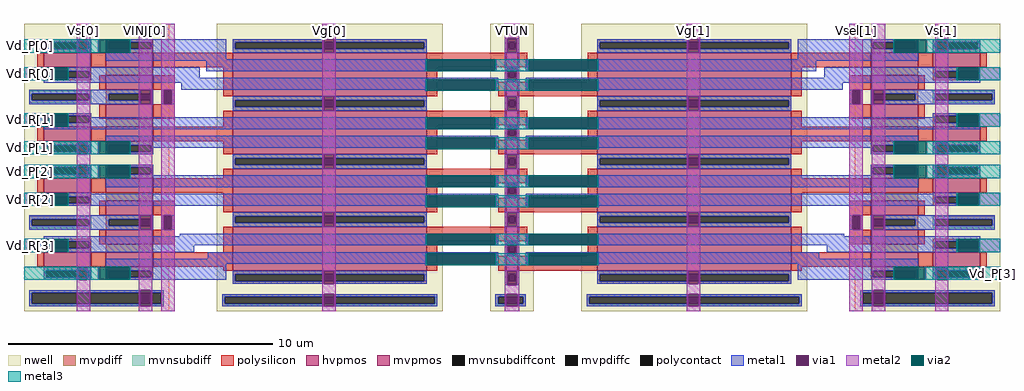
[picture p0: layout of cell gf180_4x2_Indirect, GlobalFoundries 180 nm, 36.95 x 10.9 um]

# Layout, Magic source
magic
tech gf180mcuD
<< nwell >>
rect -45 -16 65 202
rect 101 -16 272 202
rect 308 -16 341 202
rect 377 -16 548 202
rect 584 -16 694 202
<< mvpmos >>
rect -30 169 6 180
rect 17 169 53 180
rect 17 152 53 163
rect 113 147 260 180
rect 320 147 329 158
rect 389 147 536 180
rect 596 169 632 180
rect 643 169 679 180
rect 596 152 632 163
rect -30 113 6 124
rect 113 103 260 136
rect 320 125 329 136
rect 320 103 329 114
rect 389 103 536 136
rect 643 113 679 124
rect -30 74 6 85
rect 17 74 53 85
rect 17 57 53 68
rect 113 59 260 92
rect 320 81 329 92
rect 320 59 329 70
rect 389 59 536 92
rect 596 74 632 85
rect 643 74 679 85
rect 596 57 632 68
rect 113 15 260 48
rect 320 37 329 48
rect 320 15 329 26
rect 389 15 536 48
<< hvpmos >>
rect 320 169 329 180
rect 17 130 53 141
rect 17 113 53 124
rect 596 130 632 141
rect 596 113 632 124
rect 17 35 53 46
rect -30 18 6 29
rect 17 18 53 29
rect 596 35 632 46
rect 596 18 632 29
rect 643 18 679 29
<< mvpdiff >>
rect -30 188 6 190
rect -30 183 -28 188
rect 4 183 6 188
rect -30 180 6 183
rect 17 188 53 190
rect 17 183 19 188
rect 51 183 53 188
rect 17 180 53 183
rect 113 188 260 190
rect 113 183 115 188
rect 258 183 260 188
rect 113 180 260 183
rect 320 188 329 190
rect 320 183 322 188
rect 327 183 329 188
rect 320 180 329 183
rect 389 188 536 190
rect 389 183 391 188
rect 534 183 536 188
rect 389 180 536 183
rect 596 188 632 190
rect 596 183 598 188
rect 630 183 632 188
rect 596 180 632 183
rect 643 188 679 190
rect 643 183 645 188
rect 677 183 679 188
rect 643 180 679 183
rect -30 166 6 169
rect -30 161 -28 166
rect 4 161 6 166
rect 17 163 53 169
rect -30 159 6 161
rect 17 149 53 152
rect 17 144 19 149
rect 51 144 53 149
rect 17 141 53 144
rect 320 166 329 169
rect 320 161 322 166
rect 327 161 329 166
rect 320 158 329 161
rect 596 163 632 169
rect 643 166 679 169
rect 643 161 645 166
rect 677 161 679 166
rect 643 159 679 161
rect -30 132 6 134
rect -30 127 -28 132
rect 4 127 6 132
rect 113 144 260 147
rect 113 139 115 144
rect 258 139 260 144
rect 113 136 260 139
rect 320 144 329 147
rect 320 139 322 144
rect 327 139 329 144
rect 320 136 329 139
rect 389 144 536 147
rect 389 139 391 144
rect 534 139 536 144
rect 389 136 536 139
rect 596 149 632 152
rect 596 144 598 149
rect 630 144 632 149
rect 596 141 632 144
rect -30 124 6 127
rect 17 124 53 130
rect -30 110 6 113
rect -30 105 -28 110
rect 4 105 6 110
rect -30 103 6 105
rect 17 110 53 113
rect 17 105 19 110
rect 51 105 53 110
rect 17 103 53 105
rect 320 122 329 125
rect 320 117 322 122
rect 327 117 329 122
rect 320 114 329 117
rect 643 132 679 134
rect 596 124 632 130
rect 643 127 645 132
rect 677 127 679 132
rect 643 124 679 127
rect 596 110 632 113
rect 596 105 598 110
rect 630 105 632 110
rect 596 103 632 105
rect 643 110 679 113
rect 643 105 645 110
rect 677 105 679 110
rect 643 103 679 105
rect 113 100 260 103
rect 113 95 115 100
rect 258 95 260 100
rect -30 93 6 95
rect -30 88 -28 93
rect 4 88 6 93
rect -30 85 6 88
rect 17 93 53 95
rect 17 88 19 93
rect 51 88 53 93
rect 113 92 260 95
rect 320 100 329 103
rect 320 95 322 100
rect 327 95 329 100
rect 320 92 329 95
rect 389 100 536 103
rect 389 95 391 100
rect 534 95 536 100
rect 389 92 536 95
rect 596 93 632 95
rect 17 85 53 88
rect -30 71 6 74
rect -30 66 -28 71
rect 4 66 6 71
rect 17 68 53 74
rect -30 64 6 66
rect 320 78 329 81
rect 320 73 322 78
rect 327 73 329 78
rect 320 70 329 73
rect 596 88 598 93
rect 630 88 632 93
rect 596 85 632 88
rect 643 93 679 95
rect 643 88 645 93
rect 677 88 679 93
rect 643 85 679 88
rect 596 68 632 74
rect 643 71 679 74
rect 17 54 53 57
rect 17 49 19 54
rect 51 49 53 54
rect 17 46 53 49
rect 113 56 260 59
rect 113 51 115 56
rect 258 51 260 56
rect 113 48 260 51
rect 320 56 329 59
rect 320 51 322 56
rect 327 51 329 56
rect 320 48 329 51
rect 389 56 536 59
rect 389 51 391 56
rect 534 51 536 56
rect 389 48 536 51
rect 643 66 645 71
rect 677 66 679 71
rect 643 64 679 66
rect -30 37 6 39
rect -30 32 -28 37
rect 4 32 6 37
rect -30 29 6 32
rect 17 29 53 35
rect -30 15 6 18
rect -30 10 -28 15
rect 4 10 6 15
rect -30 8 6 10
rect 17 15 53 18
rect 320 34 329 37
rect 320 29 322 34
rect 327 29 329 34
rect 320 26 329 29
rect 596 54 632 57
rect 596 49 598 54
rect 630 49 632 54
rect 596 46 632 49
rect 643 37 679 39
rect 596 29 632 35
rect 643 32 645 37
rect 677 32 679 37
rect 643 29 679 32
rect 596 15 632 18
rect 17 10 19 15
rect 51 10 53 15
rect 17 8 53 10
rect 113 12 260 15
rect 113 7 115 12
rect 258 7 260 12
rect 113 5 260 7
rect 320 12 329 15
rect 320 7 322 12
rect 327 7 329 12
rect 320 5 329 7
rect 389 12 536 15
rect 389 7 391 12
rect 534 7 536 12
rect 596 10 598 15
rect 630 10 632 15
rect 596 8 632 10
rect 643 15 679 18
rect 643 10 645 15
rect 677 10 679 15
rect 643 8 679 10
rect 389 5 536 7
<< mvpdiffc >>
rect -28 183 4 188
rect 19 183 51 188
rect 115 183 258 188
rect 322 183 327 188
rect 391 183 534 188
rect 598 183 630 188
rect 645 183 677 188
rect -28 161 4 166
rect 19 144 51 149
rect 322 161 327 166
rect 645 161 677 166
rect -28 127 4 132
rect 115 139 258 144
rect 322 139 327 144
rect 391 139 534 144
rect 598 144 630 149
rect -28 105 4 110
rect 19 105 51 110
rect 322 117 327 122
rect 645 127 677 132
rect 598 105 630 110
rect 645 105 677 110
rect 115 95 258 100
rect -28 88 4 93
rect 19 88 51 93
rect 322 95 327 100
rect 391 95 534 100
rect -28 66 4 71
rect 322 73 327 78
rect 598 88 630 93
rect 645 88 677 93
rect 19 49 51 54
rect 115 51 258 56
rect 322 51 327 56
rect 391 51 534 56
rect 645 66 677 71
rect -28 32 4 37
rect -28 10 4 15
rect 322 29 327 34
rect 598 49 630 54
rect 645 32 677 37
rect 19 10 51 15
rect 115 7 258 12
rect 322 7 327 12
rect 391 7 534 12
rect 598 10 630 15
rect 645 10 677 15
<< mvnsubdiff >>
rect -41 149 6 151
rect -41 144 -39 149
rect 4 144 6 149
rect -41 142 6 144
rect 643 149 690 151
rect 643 144 645 149
rect 688 144 690 149
rect 643 142 690 144
rect -41 54 6 56
rect -41 49 -39 54
rect 4 49 6 54
rect -41 47 6 49
rect 643 54 690 56
rect 643 49 645 54
rect 688 49 690 54
rect 643 47 690 49
rect -41 -2 61 0
rect -41 -10 -39 -2
rect 59 -10 61 -2
rect 588 -2 690 0
rect -41 -12 61 -10
rect 105 -5 268 -3
rect 105 -10 107 -5
rect 266 -10 268 -5
rect 105 -12 268 -10
rect 312 -5 335 -3
rect 312 -10 314 -5
rect 333 -10 335 -5
rect 312 -12 335 -10
rect 381 -5 544 -3
rect 381 -10 383 -5
rect 542 -10 544 -5
rect 381 -12 544 -10
rect 588 -10 590 -2
rect 688 -10 690 -2
rect 588 -12 690 -10
<< mvnsubdiffcont >>
rect -39 144 4 149
rect 645 144 688 149
rect -39 49 4 54
rect 645 49 688 54
rect -39 -10 59 -2
rect 107 -10 266 -5
rect 314 -10 333 -5
rect 383 -10 542 -5
rect 590 -10 688 -2
<< polysilicon >>
rect -35 169 -30 180
rect 6 169 17 180
rect 53 169 113 180
rect 12 152 17 163
rect 53 152 69 163
rect 59 141 61 152
rect 67 141 69 152
rect 106 147 113 169
rect 260 169 320 180
rect 329 169 336 180
rect 260 147 268 169
rect 382 158 389 180
rect 314 147 320 158
rect 329 147 389 158
rect 536 169 596 180
rect 632 169 643 180
rect 679 169 684 180
rect 536 147 544 169
rect 580 152 596 163
rect 632 152 637 163
rect 12 130 17 141
rect 53 130 69 141
rect 580 141 582 152
rect 588 141 590 152
rect 106 124 113 136
rect -35 113 -30 124
rect 6 113 17 124
rect 53 113 113 124
rect 106 103 113 113
rect 260 125 320 136
rect 329 125 336 136
rect 260 103 268 125
rect 382 114 389 136
rect 314 103 320 114
rect 329 103 389 114
rect 536 124 544 136
rect 580 130 596 141
rect 632 130 637 141
rect 536 113 596 124
rect 632 113 643 124
rect 679 113 684 124
rect 536 103 544 113
rect 106 85 113 92
rect -35 74 -30 85
rect 6 74 17 85
rect 53 74 113 85
rect 12 57 17 68
rect 53 57 69 68
rect 106 59 113 74
rect 260 81 320 92
rect 329 81 336 92
rect 260 59 268 81
rect 382 70 389 92
rect 314 59 320 70
rect 329 59 389 70
rect 536 85 544 92
rect 536 74 596 85
rect 632 74 643 85
rect 679 74 684 85
rect 536 59 544 74
rect 59 46 61 57
rect 67 46 69 57
rect 580 57 596 68
rect 632 57 637 68
rect 12 35 17 46
rect 53 35 69 46
rect 106 29 113 48
rect -35 18 -30 29
rect 6 18 17 29
rect 53 18 113 29
rect 106 15 113 18
rect 260 37 320 48
rect 329 37 336 48
rect 260 15 268 37
rect 382 26 389 48
rect 314 15 320 26
rect 329 15 389 26
rect 536 29 544 48
rect 580 46 582 57
rect 588 46 590 57
rect 580 35 596 46
rect 632 35 637 46
rect 536 18 596 29
rect 632 18 643 29
rect 679 18 684 29
rect 536 15 544 18
<< polycontact >>
rect 61 141 67 152
rect 582 141 588 152
rect 61 46 67 57
rect 582 46 588 57
<< metal1 >>
rect -30 188 -4 190
rect 3 188 6 190
rect -30 183 -28 188
rect 4 183 6 188
rect -30 180 -4 183
rect 3 180 6 183
rect 17 189 108 190
rect 17 181 18 189
rect 35 188 108 189
rect 51 183 108 188
rect 35 181 108 183
rect 17 175 108 181
rect 113 188 182 190
rect 190 188 260 190
rect 113 183 115 188
rect 258 183 260 188
rect 113 180 182 183
rect 190 180 260 183
rect 319 180 321 191
rect 328 180 330 191
rect 389 188 458 190
rect 466 188 536 190
rect 389 183 391 188
rect 534 183 536 188
rect 389 180 458 183
rect 466 180 536 183
rect 541 189 632 190
rect 541 188 614 189
rect 541 183 598 188
rect 541 181 614 183
rect 631 181 632 189
rect 541 175 632 181
rect 643 188 646 190
rect 654 188 679 190
rect 643 183 645 188
rect 677 183 679 188
rect 643 180 646 183
rect 654 180 679 183
rect 17 174 313 175
rect -30 168 88 169
rect -30 160 -29 168
rect -12 166 88 168
rect 93 167 260 174
rect 312 167 313 174
rect 335 174 632 175
rect 93 166 313 167
rect 4 161 88 166
rect -12 160 314 161
rect -30 159 314 160
rect -30 157 260 159
rect 74 152 260 157
rect 312 152 314 159
rect 319 158 321 169
rect 328 158 330 169
rect 335 167 337 174
rect 389 167 555 174
rect 335 166 555 167
rect 561 168 679 169
rect 561 166 662 168
rect 561 161 645 166
rect 335 160 662 161
rect 678 160 679 168
rect 335 159 679 160
rect 335 152 337 159
rect 389 157 679 159
rect 389 152 575 157
rect -41 149 43 152
rect -41 144 -39 149
rect 4 144 19 149
rect -41 141 43 144
rect 51 141 53 152
rect 59 141 61 152
rect 67 141 69 152
rect 113 144 182 147
rect 190 144 260 147
rect 113 139 115 144
rect 258 139 260 144
rect 113 136 182 139
rect 190 136 260 139
rect 319 136 321 147
rect 328 136 330 147
rect 389 144 458 147
rect 466 144 536 147
rect 389 139 391 144
rect 534 139 536 144
rect 580 141 582 152
rect 588 141 590 152
rect 596 141 598 152
rect 606 149 690 152
rect 630 144 645 149
rect 688 144 690 149
rect 606 141 690 144
rect 389 136 458 139
rect 466 136 536 139
rect -30 133 6 134
rect -30 125 -29 133
rect -12 132 6 133
rect 4 131 6 132
rect 643 133 679 134
rect 643 132 662 133
rect 643 131 645 132
rect 4 130 314 131
rect 4 127 260 130
rect -12 125 260 127
rect -30 123 260 125
rect 312 123 314 130
rect 335 130 645 131
rect -30 122 314 123
rect 17 115 314 117
rect -30 110 -4 113
rect 3 110 6 113
rect -30 105 -28 110
rect 4 105 6 110
rect -30 103 -4 105
rect 3 103 6 105
rect 17 112 260 115
rect 17 104 18 112
rect 35 110 260 112
rect 51 108 260 110
rect 312 108 314 115
rect 319 114 321 125
rect 328 114 330 125
rect 335 123 337 130
rect 389 127 645 130
rect 389 125 662 127
rect 678 125 679 133
rect 389 123 679 125
rect 335 122 679 123
rect 335 115 632 117
rect 335 108 337 115
rect 389 112 632 115
rect 389 110 614 112
rect 389 108 598 110
rect 51 105 53 108
rect 35 104 53 105
rect 17 103 53 104
rect 596 105 598 108
rect 596 104 614 105
rect 631 104 632 112
rect 596 103 632 104
rect 643 110 646 113
rect 654 110 679 113
rect 643 105 645 110
rect 677 105 679 110
rect 643 103 646 105
rect 654 103 679 105
rect 113 100 182 103
rect 190 100 260 103
rect 113 95 115 100
rect 258 95 260 100
rect -30 93 -4 95
rect 3 93 6 95
rect -30 88 -28 93
rect 4 88 6 93
rect -30 85 -4 88
rect 3 85 6 88
rect 17 94 53 95
rect 17 86 18 94
rect 35 93 53 94
rect 51 88 53 93
rect 113 92 182 95
rect 190 92 260 95
rect 319 92 321 103
rect 328 92 330 103
rect 389 100 458 103
rect 466 100 536 103
rect 389 95 391 100
rect 534 95 536 100
rect 389 92 458 95
rect 466 92 536 95
rect 596 94 632 95
rect 596 93 614 94
rect 35 87 53 88
rect 596 88 598 93
rect 596 87 614 88
rect 35 86 314 87
rect 17 79 260 86
rect 312 79 314 86
rect 335 86 614 87
rect 631 86 632 94
rect 17 78 314 79
rect -30 73 6 74
rect -30 65 -29 73
rect -12 71 314 73
rect 4 66 260 71
rect -12 65 260 66
rect -30 64 260 65
rect 312 64 314 71
rect 319 70 321 81
rect 328 70 330 81
rect 335 79 337 86
rect 389 79 632 86
rect 643 93 646 95
rect 654 93 679 95
rect 643 88 645 93
rect 677 88 679 93
rect 643 85 646 88
rect 654 85 679 88
rect 335 78 632 79
rect 643 73 679 74
rect 335 71 662 73
rect 335 64 337 71
rect 389 66 645 71
rect 389 65 662 66
rect 678 65 679 73
rect 389 64 679 65
rect -41 54 43 57
rect -41 49 -39 54
rect 4 49 19 54
rect -41 46 43 49
rect 51 46 53 57
rect 59 46 61 57
rect 67 46 69 57
rect 113 56 182 59
rect 190 56 260 59
rect 113 51 115 56
rect 258 51 260 56
rect 113 48 182 51
rect 190 48 260 51
rect 319 48 321 59
rect 328 48 330 59
rect 389 56 458 59
rect 466 56 536 59
rect 389 51 391 56
rect 534 51 536 56
rect 389 48 458 51
rect 466 48 536 51
rect 580 46 582 57
rect 588 46 590 57
rect 596 46 598 57
rect 606 54 690 57
rect 630 49 645 54
rect 688 49 690 54
rect 606 46 690 49
rect 73 42 314 43
rect 73 41 260 42
rect -30 38 260 41
rect -30 30 -29 38
rect -12 37 260 38
rect 4 35 260 37
rect 312 35 314 42
rect 335 42 576 43
rect 4 34 314 35
rect 4 32 84 34
rect -12 30 84 32
rect -30 29 84 30
rect 94 27 314 29
rect 94 24 260 27
rect 17 20 260 24
rect 312 20 314 27
rect 319 26 321 37
rect 328 26 330 37
rect 335 35 337 42
rect 389 41 576 42
rect 389 38 679 41
rect 389 37 662 38
rect 389 35 645 37
rect 335 34 645 35
rect 563 32 645 34
rect 563 30 662 32
rect 678 30 679 38
rect 563 29 679 30
rect 335 27 557 29
rect 335 20 337 27
rect 389 24 557 27
rect 389 20 632 24
rect -30 15 -4 18
rect 3 15 6 18
rect -30 10 -28 15
rect 4 10 6 15
rect -30 8 -4 10
rect 3 8 6 10
rect 17 17 108 20
rect 17 9 18 17
rect 35 15 108 17
rect 541 17 632 20
rect 541 15 614 17
rect 51 10 108 15
rect 35 9 108 10
rect 17 8 108 9
rect 113 12 182 15
rect 190 12 260 15
rect 113 7 115 12
rect 258 7 260 12
rect 113 5 182 7
rect 190 5 260 7
rect 319 4 321 15
rect 328 4 330 15
rect 389 12 458 15
rect 466 12 536 15
rect 389 7 391 12
rect 534 7 536 12
rect 541 10 598 15
rect 541 9 614 10
rect 631 9 632 17
rect 541 8 632 9
rect 643 15 646 18
rect 654 15 679 18
rect 643 10 645 15
rect 677 10 679 15
rect 643 8 646 10
rect 654 8 679 10
rect 389 5 458 7
rect 466 5 536 7
rect -41 -2 43 0
rect 51 -2 61 0
rect -41 -10 -39 -2
rect 59 -10 61 -2
rect 588 -2 598 0
rect 606 -2 690 0
rect -41 -12 43 -10
rect 51 -12 61 -10
rect 105 -5 182 -3
rect 190 -5 268 -3
rect 105 -10 107 -5
rect 266 -10 268 -5
rect 105 -12 182 -10
rect 190 -12 268 -10
rect 312 -5 320 -3
rect 329 -5 335 -3
rect 312 -10 314 -5
rect 333 -10 335 -5
rect 312 -12 320 -10
rect 329 -12 335 -10
rect 381 -5 458 -3
rect 466 -5 544 -3
rect 381 -10 383 -5
rect 542 -10 544 -5
rect 381 -12 458 -10
rect 466 -12 544 -10
rect 588 -10 590 -2
rect 688 -10 690 -2
rect 588 -12 598 -10
rect 606 -12 690 -10
<< via1 >>
rect -4 188 3 190
rect -4 183 3 188
rect -4 180 3 183
rect 18 188 35 189
rect 18 183 19 188
rect 19 183 35 188
rect 18 181 35 183
rect 182 188 190 190
rect 182 183 190 188
rect 182 180 190 183
rect 321 188 328 191
rect 321 183 322 188
rect 322 183 327 188
rect 327 183 328 188
rect 321 180 328 183
rect 458 188 466 190
rect 458 183 466 188
rect 458 180 466 183
rect 614 188 631 189
rect 614 183 630 188
rect 630 183 631 188
rect 614 181 631 183
rect 646 188 654 190
rect 646 183 654 188
rect 646 180 654 183
rect -29 166 -12 168
rect 260 167 312 174
rect -29 161 -28 166
rect -28 161 -12 166
rect -29 160 -12 161
rect 260 152 312 159
rect 321 166 328 169
rect 321 161 322 166
rect 322 161 327 166
rect 327 161 328 166
rect 321 158 328 161
rect 337 167 389 174
rect 662 166 678 168
rect 662 161 677 166
rect 677 161 678 166
rect 662 160 678 161
rect 337 152 389 159
rect 43 149 51 152
rect 43 144 51 149
rect 43 141 51 144
rect 61 141 67 152
rect 182 144 190 147
rect 182 139 190 144
rect 182 136 190 139
rect 321 144 328 147
rect 321 139 322 144
rect 322 139 327 144
rect 327 139 328 144
rect 321 136 328 139
rect 458 144 466 147
rect 458 139 466 144
rect 582 141 588 152
rect 598 149 606 152
rect 598 144 606 149
rect 598 141 606 144
rect 458 136 466 139
rect -29 132 -12 133
rect -29 127 -28 132
rect -28 127 -12 132
rect 662 132 678 133
rect -29 125 -12 127
rect 260 123 312 130
rect -4 110 3 113
rect -4 105 3 110
rect -4 103 3 105
rect 18 110 35 112
rect 18 105 19 110
rect 19 105 35 110
rect 260 108 312 115
rect 321 122 328 125
rect 321 117 322 122
rect 322 117 327 122
rect 327 117 328 122
rect 321 114 328 117
rect 337 123 389 130
rect 662 127 677 132
rect 677 127 678 132
rect 662 125 678 127
rect 337 108 389 115
rect 614 110 631 112
rect 18 104 35 105
rect 614 105 630 110
rect 630 105 631 110
rect 614 104 631 105
rect 646 110 654 113
rect 646 105 654 110
rect 646 103 654 105
rect 182 100 190 103
rect 182 95 190 100
rect -4 93 3 95
rect -4 88 3 93
rect -4 85 3 88
rect 18 93 35 94
rect 18 88 19 93
rect 19 88 35 93
rect 182 92 190 95
rect 321 100 328 103
rect 321 95 322 100
rect 322 95 327 100
rect 327 95 328 100
rect 321 92 328 95
rect 458 100 466 103
rect 458 95 466 100
rect 458 92 466 95
rect 614 93 631 94
rect 18 86 35 88
rect 614 88 630 93
rect 630 88 631 93
rect 260 79 312 86
rect 614 86 631 88
rect -29 71 -12 73
rect -29 66 -28 71
rect -28 66 -12 71
rect -29 65 -12 66
rect 260 64 312 71
rect 321 78 328 81
rect 321 73 322 78
rect 322 73 327 78
rect 327 73 328 78
rect 321 70 328 73
rect 337 79 389 86
rect 646 93 654 95
rect 646 88 654 93
rect 646 85 654 88
rect 662 71 678 73
rect 337 64 389 71
rect 662 66 677 71
rect 677 66 678 71
rect 662 65 678 66
rect 43 54 51 57
rect 43 49 51 54
rect 43 46 51 49
rect 61 46 67 57
rect 182 56 190 59
rect 182 51 190 56
rect 182 48 190 51
rect 321 56 328 59
rect 321 51 322 56
rect 322 51 327 56
rect 327 51 328 56
rect 321 48 328 51
rect 458 56 466 59
rect 458 51 466 56
rect 458 48 466 51
rect 582 46 588 57
rect 598 54 606 57
rect 598 49 606 54
rect 598 46 606 49
rect -29 37 -12 38
rect -29 32 -28 37
rect -28 32 -12 37
rect 260 35 312 42
rect -29 30 -12 32
rect 260 20 312 27
rect 321 34 328 37
rect 321 29 322 34
rect 322 29 327 34
rect 327 29 328 34
rect 321 26 328 29
rect 337 35 389 42
rect 662 37 678 38
rect 662 32 677 37
rect 677 32 678 37
rect 662 30 678 32
rect 337 20 389 27
rect -4 15 3 18
rect -4 10 3 15
rect -4 8 3 10
rect 18 15 35 17
rect 614 15 631 17
rect 18 10 19 15
rect 19 10 35 15
rect 18 9 35 10
rect 182 12 190 15
rect 182 7 190 12
rect 182 5 190 7
rect 321 12 328 15
rect 321 7 322 12
rect 322 7 327 12
rect 327 7 328 12
rect 321 4 328 7
rect 458 12 466 15
rect 458 7 466 12
rect 614 10 630 15
rect 630 10 631 15
rect 614 9 631 10
rect 646 15 654 18
rect 646 10 654 15
rect 646 8 654 10
rect 458 5 466 7
rect 43 -2 51 0
rect 43 -10 51 -2
rect 598 -2 606 0
rect 43 -12 51 -10
rect 182 -5 190 -3
rect 182 -10 190 -5
rect 182 -12 190 -10
rect 320 -5 329 -3
rect 320 -10 329 -5
rect 320 -12 329 -10
rect 458 -5 466 -3
rect 458 -10 466 -5
rect 458 -12 466 -10
rect 598 -10 606 -2
rect 598 -12 606 -10
<< metal2 >>
rect -5 190 5 202
rect -5 180 -4 190
rect 3 180 5 190
rect 11 180 12 190
rect 35 180 36 190
rect -45 159 -29 169
rect -12 159 -11 169
rect -45 124 -29 134
rect -12 124 -11 134
rect -5 113 5 180
rect 42 152 52 202
rect 42 141 43 152
rect 51 141 52 152
rect -5 103 -4 113
rect 3 103 5 113
rect 11 103 12 113
rect 35 103 36 113
rect -5 95 5 103
rect -5 85 -4 95
rect 3 85 5 95
rect 11 85 12 95
rect 35 85 36 95
rect -45 64 -29 74
rect -12 64 -11 74
rect -45 29 -29 39
rect -12 29 -11 39
rect -5 18 5 85
rect 42 57 52 141
rect 42 46 43 57
rect 51 46 52 57
rect -5 8 -4 18
rect 3 8 5 18
rect 11 8 12 18
rect 35 8 36 18
rect -5 -16 5 8
rect 42 0 52 46
rect 42 -12 43 0
rect 51 -12 52 0
rect 42 -16 52 -12
rect 59 152 69 202
rect 59 141 61 152
rect 67 141 69 152
rect 59 57 69 141
rect 59 46 61 57
rect 67 46 69 57
rect 59 -16 69 46
rect 181 190 191 202
rect 181 180 182 190
rect 190 180 191 190
rect 181 147 191 180
rect 319 191 330 202
rect 319 180 321 191
rect 328 180 330 191
rect 259 166 260 175
rect 312 166 313 175
rect 319 169 330 180
rect 457 190 467 202
rect 457 180 458 190
rect 466 180 467 190
rect 259 151 260 160
rect 312 151 313 160
rect 319 158 321 169
rect 328 158 330 169
rect 336 166 337 175
rect 389 166 390 175
rect 181 136 182 147
rect 190 136 191 147
rect 181 103 191 136
rect 319 147 330 158
rect 336 151 337 160
rect 389 151 390 160
rect 319 136 321 147
rect 328 136 330 147
rect 259 122 260 131
rect 312 122 313 131
rect 319 125 330 136
rect 457 147 467 180
rect 457 136 458 147
rect 466 136 467 147
rect 259 107 260 116
rect 312 107 313 116
rect 319 114 321 125
rect 328 114 330 125
rect 336 122 337 131
rect 389 122 390 131
rect 181 92 182 103
rect 190 92 191 103
rect 181 59 191 92
rect 319 103 330 114
rect 336 107 337 116
rect 389 107 390 116
rect 319 92 321 103
rect 328 92 330 103
rect 259 78 260 87
rect 312 78 313 87
rect 319 81 330 92
rect 457 103 467 136
rect 457 92 458 103
rect 466 92 467 103
rect 259 63 260 72
rect 312 63 313 72
rect 319 70 321 81
rect 328 70 330 81
rect 336 78 337 87
rect 389 78 390 87
rect 181 48 182 59
rect 190 48 191 59
rect 181 15 191 48
rect 319 59 330 70
rect 336 63 337 72
rect 389 63 390 72
rect 319 48 321 59
rect 328 48 330 59
rect 259 34 260 43
rect 312 34 313 43
rect 319 37 330 48
rect 457 59 467 92
rect 457 48 458 59
rect 466 48 467 59
rect 259 19 260 28
rect 312 19 313 28
rect 319 26 321 37
rect 328 26 330 37
rect 336 34 337 43
rect 389 34 390 43
rect 181 5 182 15
rect 190 5 191 15
rect 181 -3 191 5
rect 181 -12 182 -3
rect 190 -12 191 -3
rect 181 -16 191 -12
rect 319 15 330 26
rect 336 19 337 28
rect 389 19 390 28
rect 319 4 321 15
rect 328 4 330 15
rect 319 -3 330 4
rect 319 -12 320 -3
rect 329 -12 330 -3
rect 319 -16 330 -12
rect 457 15 467 48
rect 457 5 458 15
rect 466 5 467 15
rect 457 -3 467 5
rect 457 -12 458 -3
rect 466 -12 467 -3
rect 457 -16 467 -12
rect 580 152 590 202
rect 580 141 582 152
rect 588 141 590 152
rect 580 57 590 141
rect 580 46 582 57
rect 588 46 590 57
rect 580 -16 590 46
rect 597 152 607 202
rect 645 190 655 202
rect 613 180 614 190
rect 638 180 639 190
rect 645 180 646 190
rect 654 180 655 190
rect 597 141 598 152
rect 606 141 607 152
rect 597 57 607 141
rect 645 113 655 180
rect 661 159 662 169
rect 678 159 694 169
rect 661 124 662 134
rect 678 124 694 134
rect 613 103 614 113
rect 638 103 639 113
rect 645 103 646 113
rect 654 103 655 113
rect 645 95 655 103
rect 613 85 614 95
rect 638 85 639 95
rect 645 85 646 95
rect 654 85 655 95
rect 597 46 598 57
rect 606 46 607 57
rect 597 0 607 46
rect 645 18 655 85
rect 661 64 662 74
rect 678 64 694 74
rect 661 29 662 39
rect 678 29 694 39
rect 613 8 614 18
rect 637 8 638 18
rect 645 8 646 18
rect 654 8 655 18
rect 597 -12 598 0
rect 606 -12 607 0
rect 597 -16 607 -12
rect 645 -16 655 8
<< via2 >>
rect 12 189 35 190
rect 12 181 18 189
rect 18 181 35 189
rect 12 180 35 181
rect -29 168 -12 169
rect -29 160 -12 168
rect -29 159 -12 160
rect -29 133 -12 134
rect -29 125 -12 133
rect -29 124 -12 125
rect 12 112 35 113
rect 12 104 18 112
rect 18 104 35 112
rect 12 103 35 104
rect 12 94 35 95
rect 12 86 18 94
rect 18 86 35 94
rect 12 85 35 86
rect -29 73 -12 74
rect -29 65 -12 73
rect -29 64 -12 65
rect -29 38 -12 39
rect -29 30 -12 38
rect -29 29 -12 30
rect 12 17 35 18
rect 12 9 18 17
rect 18 9 35 17
rect 12 8 35 9
rect 260 174 312 175
rect 260 167 312 174
rect 260 166 312 167
rect 260 159 312 160
rect 260 152 312 159
rect 260 151 312 152
rect 337 174 389 175
rect 337 167 389 174
rect 337 166 389 167
rect 337 159 389 160
rect 337 152 389 159
rect 337 151 389 152
rect 260 130 312 131
rect 260 123 312 130
rect 260 122 312 123
rect 260 115 312 116
rect 260 108 312 115
rect 260 107 312 108
rect 337 130 389 131
rect 337 123 389 130
rect 337 122 389 123
rect 337 115 389 116
rect 337 108 389 115
rect 337 107 389 108
rect 260 86 312 87
rect 260 79 312 86
rect 260 78 312 79
rect 260 71 312 72
rect 260 64 312 71
rect 260 63 312 64
rect 337 86 389 87
rect 337 79 389 86
rect 337 78 389 79
rect 337 71 389 72
rect 337 64 389 71
rect 337 63 389 64
rect 260 42 312 43
rect 260 35 312 42
rect 260 34 312 35
rect 260 27 312 28
rect 260 20 312 27
rect 260 19 312 20
rect 337 42 389 43
rect 337 35 389 42
rect 337 34 389 35
rect 337 27 389 28
rect 337 20 389 27
rect 337 19 389 20
rect 614 189 638 190
rect 614 181 631 189
rect 631 181 638 189
rect 614 180 638 181
rect 662 168 678 169
rect 662 160 678 168
rect 662 159 678 160
rect 662 133 678 134
rect 662 125 678 133
rect 662 124 678 125
rect 614 112 638 113
rect 614 104 631 112
rect 631 104 638 112
rect 614 103 638 104
rect 614 94 638 95
rect 614 86 631 94
rect 631 86 638 94
rect 614 85 638 86
rect 662 73 678 74
rect 662 65 678 73
rect 662 64 678 65
rect 662 38 678 39
rect 662 30 678 38
rect 662 29 678 30
rect 614 17 637 18
rect 614 9 631 17
rect 631 9 637 17
rect 614 8 637 9
<< metal3 >>
rect -45 180 12 190
rect 35 180 36 190
rect 613 180 614 190
rect 638 180 694 190
rect -45 159 -29 169
rect -12 159 -11 169
rect 259 166 260 175
rect 312 166 337 175
rect 389 166 390 175
rect 259 151 260 160
rect 312 151 337 160
rect 389 151 390 160
rect 661 159 662 169
rect 678 159 694 169
rect -45 124 -29 134
rect -12 124 -11 134
rect 259 122 260 131
rect 312 122 337 131
rect 389 122 390 131
rect 661 124 662 134
rect 678 124 694 134
rect -45 103 12 113
rect 35 103 36 113
rect 259 107 260 116
rect 312 107 337 116
rect 389 107 390 116
rect 613 103 614 113
rect 638 103 694 113
rect -45 85 12 95
rect 35 85 36 95
rect 259 78 260 87
rect 312 78 337 87
rect 389 78 390 87
rect 613 85 614 95
rect 638 85 694 95
rect -45 64 -29 74
rect -12 64 -11 74
rect 259 63 260 72
rect 312 63 337 72
rect 389 63 390 72
rect 661 64 662 74
rect 678 64 694 74
rect -45 29 -29 39
rect -12 29 -11 39
rect 259 34 260 43
rect 312 34 337 43
rect 389 34 390 43
rect 661 29 662 39
rect 678 29 694 39
rect 259 19 260 28
rect 312 19 337 28
rect 389 19 390 28
rect -45 8 12 18
rect 35 8 36 18
rect 613 8 614 18
rect 637 8 694 18
<< labels >>
flabel metal2 181 192 191 202 1 FreeSans 16 0 0 0 Vg[0]
port 37 n
flabel metal3 -45 180 -35 190 1 FreeSans 16 0 0 0 Vd_P[0]
port 26 n
flabel metal3 -45 159 -35 169 1 FreeSans 16 0 0 0 Vd_R[0]
port 27 n
flabel metal3 -45 124 -35 134 1 FreeSans 16 0 0 0 Vd_R[1]
port 28 n
flabel metal3 -45 103 -35 113 1 FreeSans 16 0 0 0 Vd_P[1]
port 29 n
flabel metal3 -45 85 -35 95 1 FreeSans 16 0 0 0 Vd_P[2]
port 30 n
flabel metal3 -45 64 -35 74 1 FreeSans 16 0 0 0 Vd_R[2]
port 31 n
flabel metal3 -45 29 -35 39 1 FreeSans 16 0 0 0 Vd_R[3]
port 32 n
flabel metal2 -5 192 5 202 1 FreeSans 16 0 0 0 Vs[0]
port 34 n
flabel metal2 42 192 52 202 1 FreeSans 16 0 0 0 VINJ[0]
port 35 n
flabel metal2 59 192 69 202 1 FreeSans 16 0 0 0 Vsel[0]
port 36 n
flabel metal2 319 191 330 202 1 FreeSans 16 0 0 0 VTUN
port 20 n
flabel metal2 457 192 467 202 1 FreeSans 16 0 0 0 Vg[1]
port 38 n
flabel metal2 580 192 590 202 1 FreeSans 16 0 0 0 Vsel[1]
port 39 n
flabel metal2 597 192 607 202 1 FreeSans 16 0 0 0 VINJ[1]
port 40 n
flabel metal2 645 192 655 202 1 FreeSans 16 0 0 0 Vs[1]
port 41 n
flabel metal3 684 8 694 18 1 FreeSans 16 180 0 0 Vd_P[3]
port 33 n
<< end >>
